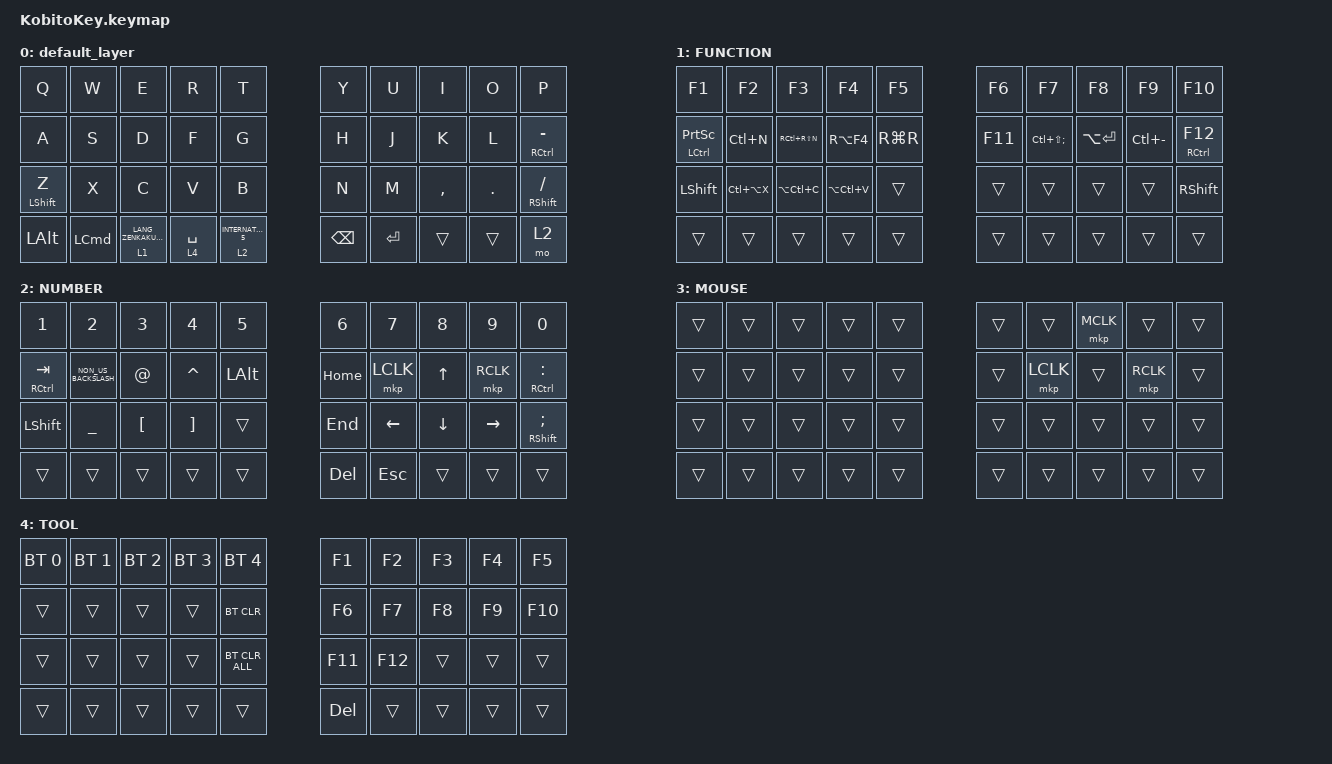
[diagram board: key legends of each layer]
#include <input/processors.dtsi>
#include <behaviors.dtsi>
#include <dt-bindings/zmk/bt.h>
#include <dt-bindings/zmk/keys.h>
#include <dt-bindings/zmk/pointing.h>

/ {
    combos {
        compatible = "zmk,combos";

        combo_eisu {
            timeout-ms = <50>;
            key-positions = <12 13>;
            bindings = <&kp LANG2>;
        };

        combo_kana {
            timeout-ms = <50>;
            key-positions = <16 17>;
            bindings = <&kp LANG1>;
        };

        combo_esc {
            timeout-ms = <50>;
            key-positions = <0 1>;
            bindings = <&kp ESC>;
        };

        combo_tab {
            timeout-ms = <50>;
            key-positions = <10 11>;
            bindings = <&kp TAB>;
        };
    };

    keymap {
        compatible = "zmk,keymap";

        default_layer {
            bindings = <
&kp Q             &kp W     &kp E                      &kp R        &kp T                  &kp Y     &kp U      &kp I      &kp O    &kp P
&kp A             &kp S     &kp D                      &kp F        &kp G                  &kp H     &kp J      &kp K      &kp L    &mt RCTRL MINUS
&mt LEFT_SHIFT Z  &kp X     &kp C                      &kp V        &kp B                  &kp N     &kp M      &kp COMMA  &kp DOT  &mt RIGHT_SHIFT SLASH
&kp LEFT_ALT      &kp LCMD  &lt 1 LANG_ZENKAKUHANKAKU  &lt 4 SPACE  &lt 2 INTERNATIONAL_5  &kp BSPC  &kp ENTER  &trans     &trans   &mo 2
            >;
        };

        layer1 {
            label = "FUNCTION";
            bindings = <
&kp F1                 &kp F2         &kp F3         &kp F4         &kp F5     &kp F6   &kp F7                 &kp F8         &kp F9         &kp F10
&mt LCTRL PRINTSCREEN  &kp LC(N)      &kp RC(RS(N))  &kp RA(F4)     &kp RG(R)  &kp F11  &kp LC(LS(SEMICOLON))  &kp LA(ENTER)  &kp LC(MINUS)  &mt RCTRL F12
&kp LEFT_SHIFT         &kp LC(LA(X))  &kp LA(LC(C))  &kp LA(LC(V))  &trans     &trans   &trans                 &trans         &trans         &kp RIGHT_SHIFT
&trans                 &trans         &trans         &trans         &trans     &trans   &trans                 &trans         &trans         &trans
            >;
        };

        layer2 {
            bindings = <
&kp N1          &kp N2                &kp N3            &kp N4             &kp N5        &kp N6    &kp N7     &kp N8    &kp N9     &kp N0
&mt RCTRL TAB   &kp NON_US_BACKSLASH  &kp AT_SIGN       &kp CARET          &kp LEFT_ALT  &kp HOME  &mkp LCLK  &kp UP    &mkp RCLK  &mt RCTRL COLON
&kp LEFT_SHIFT  &kp UNDERSCORE        &kp LEFT_BRACKET  &kp RIGHT_BRACKET  &trans        &kp END   &kp LEFT   &kp DOWN  &kp RIGHT  &mt RIGHT_SHIFT SEMICOLON
&trans          &trans                &trans            &trans             &trans        &kp DEL   &kp ESC    &trans    &trans     &trans
            >;

            label = "NUMBER";
        };

        layer3 {
            label = "MOUSE";
            bindings = <
&trans  &trans  &trans  &trans  &trans  &trans  &trans     &mkp MCLK  &trans     &trans
&trans  &trans  &trans  &trans  &trans  &trans  &mkp LCLK  &trans     &mkp RCLK  &trans
&trans  &trans  &trans  &trans  &trans  &trans  &trans     &trans     &trans     &trans
&trans  &trans  &trans  &trans  &trans  &trans  &trans     &trans     &trans     &trans
            >;
        };

        layer4 {
            label = "TOOL";
            bindings = <
&bt BT_SEL 0  &bt BT_SEL 1  &bt BT_SEL 2  &bt BT_SEL 3  &bt BT_SEL 4    &kp F1   &kp F2   &kp F3  &kp F4  &kp F5
&trans        &trans        &trans        &trans        &bt BT_CLR      &kp F6   &kp F7   &kp F8  &kp F9  &kp F10
&trans        &trans        &trans        &trans        &bt BT_CLR_ALL  &kp F11  &kp F12  &trans  &trans  &trans
&trans        &trans        &trans        &trans        &trans          &kp DEL  &trans   &trans  &trans  &trans
            >;
        };
    };
};
